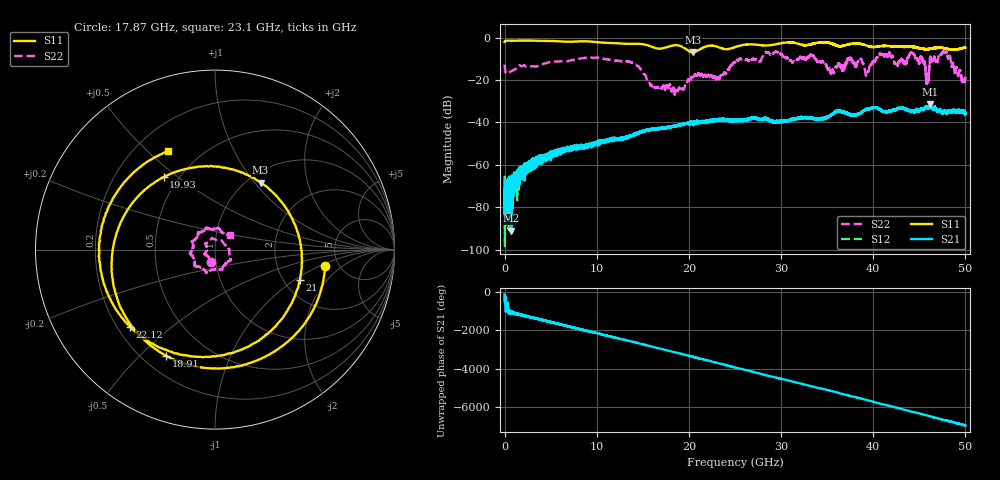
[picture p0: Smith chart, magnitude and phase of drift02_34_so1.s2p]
!Created with skrf (http://scikit-rf.org).
# Hz S RI R 50.0
!freq ReS11 ImS11 ReS21 ImS21 ReS12 ImS12 ReS22 ImS22
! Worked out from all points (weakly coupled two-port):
!   10001 points, 300 kHz to 50 GHz, reference 50 ohm
!   highest |S21| = -31.43 dB at 46.21 GHz (marker M1); lowest = -91.0 dB at 680.3 MHz (marker M2)
!   lowest |S11| = -6.9 dB at 20.43 GHz (marker M3), VSWR 2.64, Z = 57.4 + j53.6 ohm
!   |S11| at or under -10 dB: nowhere
!   |S22| runs from -26.9 to -6.1 dB; largest |S21 - S12| = 0.0027
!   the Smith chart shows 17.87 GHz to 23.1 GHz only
!   S11 on the Smith chart (normalised r, x): 17.87 GHz: 3.91, -1.14; 18.91 GHz: 0.29, -0.60; 19.93 GHz: 0.42, +0.45; 21 GHz: 2.45, -1.11; 22.12 GHz: 0.25, -0.36; 23.1 GHz: 0.33, +0.58
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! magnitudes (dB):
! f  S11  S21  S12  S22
! 300 kHz  -2.1  -67.4  -65.1  -12.7
! 680.3 MHz  -1.5  -91.0  -73.3  -15.9
! 3.255 GHz  -1.5  -58.8  -57.1  -13.6
! 8.335 GHz  -1.7  -51.4  -51.8  -9.7
! 13.71 GHz  -3.0  -46.3  -46.3  -11.6
! 16.67 GHz  -5.2  -43.3  -42.9  -23.5
! 17.87 GHz  -4.2  -42.1  -42.4  -22.6
! 18.91 GHz  -3.7  -41.4  -41.2  -23.8
! 19.93 GHz  -6.1  -40.3  -40.2  -19.8
! 20.43 GHz  -6.9  -39.6  -40.0  -19.2
! 21 GHz  -6.0  -40.2  -39.5  -16.8
! 22.12 GHz  -3.9  -39.3  -39.3  -17.7
! 23.1 GHz  -4.3  -39.1  -38.6  -18.6
! 25 GHz  -4.5  -39.3  -39.2  -11.6
! 33.34 GHz  -3.0  -37.8  -37.9  -8.4
! 39.32 GHz  -3.8  -33.8  -33.6  -16.8
! 41.67 GHz  -4.0  -34.5  -34.5  -7.7
! 44.27 GHz  -4.3  -34.4  -34.6  -7.5
! 45.86 GHz  -5.5  -32.8  -33.2  -19.3
! 46.21 GHz  -5.4  -31.4  -31.6  -8.8
! 47.76 GHz  -5.0  -34.4  -34.8  -6.9
! 50 GHz  -4.7  -35.4  -36.0  -19.1
